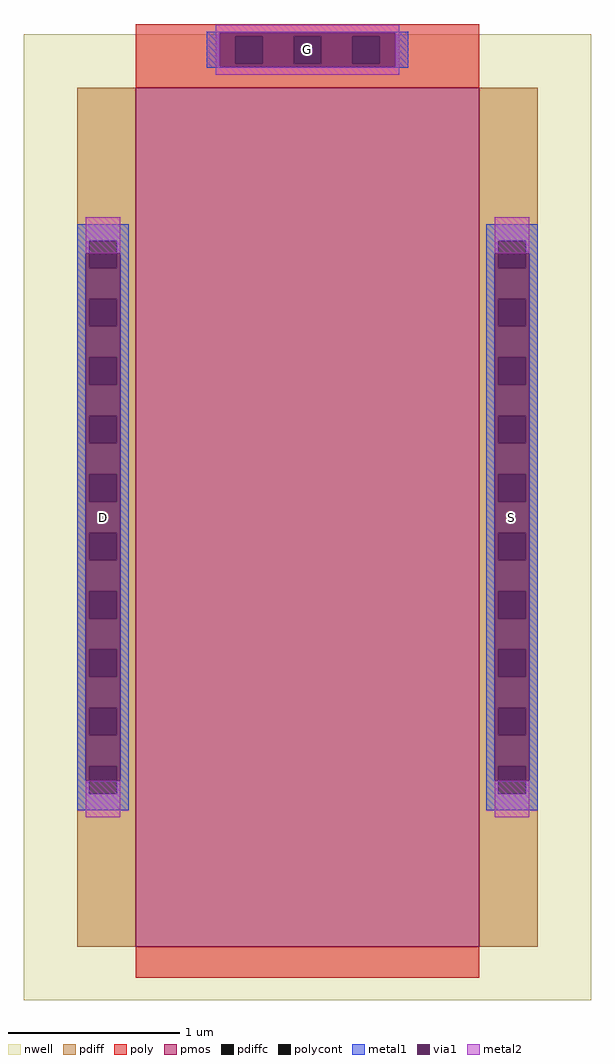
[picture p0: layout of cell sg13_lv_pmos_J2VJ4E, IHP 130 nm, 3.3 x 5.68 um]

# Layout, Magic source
magic
tech ihp-sg13g2
magscale 1 2
<< nwell >>
rect -330 -581 330 543
<< pmos >>
rect -200 -519 200 481
<< pdiff >>
rect -268 303 -200 481
rect -268 271 -254 303
rect -222 271 -200 303
rect -268 235 -200 271
rect -268 203 -254 235
rect -222 203 -200 235
rect -268 167 -200 203
rect -268 135 -254 167
rect -222 135 -200 167
rect -268 99 -200 135
rect -268 67 -254 99
rect -222 67 -200 99
rect -268 31 -200 67
rect -268 -1 -254 31
rect -222 -1 -200 31
rect -268 -37 -200 -1
rect -268 -69 -254 -37
rect -222 -69 -200 -37
rect -268 -105 -200 -69
rect -268 -137 -254 -105
rect -222 -137 -200 -105
rect -268 -173 -200 -137
rect -268 -205 -254 -173
rect -222 -205 -200 -173
rect -268 -241 -200 -205
rect -268 -273 -254 -241
rect -222 -273 -200 -241
rect -268 -309 -200 -273
rect -268 -341 -254 -309
rect -222 -341 -200 -309
rect -268 -519 -200 -341
rect 200 303 268 481
rect 200 271 222 303
rect 254 271 268 303
rect 200 235 268 271
rect 200 203 222 235
rect 254 203 268 235
rect 200 167 268 203
rect 200 135 222 167
rect 254 135 268 167
rect 200 99 268 135
rect 200 67 222 99
rect 254 67 268 99
rect 200 31 268 67
rect 200 -1 222 31
rect 254 -1 268 31
rect 200 -37 268 -1
rect 200 -69 222 -37
rect 254 -69 268 -37
rect 200 -105 268 -69
rect 200 -137 222 -105
rect 254 -137 268 -105
rect 200 -173 268 -137
rect 200 -205 222 -173
rect 254 -205 268 -173
rect 200 -241 268 -205
rect 200 -273 222 -241
rect 254 -273 268 -241
rect 200 -309 268 -273
rect 200 -341 222 -309
rect 254 -341 268 -309
rect 200 -519 268 -341
<< pdiffc >>
rect -254 271 -222 303
rect -254 203 -222 235
rect -254 135 -222 167
rect -254 67 -222 99
rect -254 -1 -222 31
rect -254 -69 -222 -37
rect -254 -137 -222 -105
rect -254 -205 -222 -173
rect -254 -273 -222 -241
rect -254 -341 -222 -309
rect 222 271 254 303
rect 222 203 254 235
rect 222 135 254 167
rect 222 67 254 99
rect 222 -1 254 31
rect 222 -69 254 -37
rect 222 -137 254 -105
rect 222 -205 254 -173
rect 222 -273 254 -241
rect 222 -341 254 -309
<< poly >>
rect -200 541 200 555
rect -200 509 -84 541
rect -52 509 -16 541
rect 16 509 52 541
rect 84 509 200 541
rect -200 481 200 509
rect -200 -555 200 -519
<< polycont >>
rect -84 509 -52 541
rect -16 509 16 541
rect 52 509 84 541
<< metal1 >>
rect -117 545 117 546
rect -117 505 -102 545
rect 102 505 117 545
rect -117 504 117 505
rect -268 303 -208 322
rect -268 288 -254 303
rect -222 288 -208 303
rect -268 -326 -258 288
rect -218 -326 -208 288
rect -268 -341 -254 -326
rect -222 -341 -208 -326
rect -268 -360 -208 -341
rect 208 303 268 322
rect 208 288 222 303
rect 254 288 268 303
rect 208 -326 218 288
rect 258 -326 268 288
rect 208 -341 222 -326
rect 254 -341 268 -326
rect 208 -360 268 -341
<< via1 >>
rect -102 541 102 545
rect -102 509 -84 541
rect -84 509 -52 541
rect -52 509 -16 541
rect -16 509 16 541
rect 16 509 52 541
rect 52 509 84 541
rect 84 509 102 541
rect -102 505 102 509
rect -258 271 -254 288
rect -254 271 -222 288
rect -222 271 -218 288
rect -258 235 -218 271
rect -258 203 -254 235
rect -254 203 -222 235
rect -222 203 -218 235
rect -258 167 -218 203
rect -258 135 -254 167
rect -254 135 -222 167
rect -222 135 -218 167
rect -258 99 -218 135
rect -258 67 -254 99
rect -254 67 -222 99
rect -222 67 -218 99
rect -258 31 -218 67
rect -258 -1 -254 31
rect -254 -1 -222 31
rect -222 -1 -218 31
rect -258 -37 -218 -1
rect -258 -69 -254 -37
rect -254 -69 -222 -37
rect -222 -69 -218 -37
rect -258 -105 -218 -69
rect -258 -137 -254 -105
rect -254 -137 -222 -105
rect -222 -137 -218 -105
rect -258 -173 -218 -137
rect -258 -205 -254 -173
rect -254 -205 -222 -173
rect -222 -205 -218 -173
rect -258 -241 -218 -205
rect -258 -273 -254 -241
rect -254 -273 -222 -241
rect -222 -273 -218 -241
rect -258 -309 -218 -273
rect -258 -326 -254 -309
rect -254 -326 -222 -309
rect -222 -326 -218 -309
rect 218 271 222 288
rect 222 271 254 288
rect 254 271 258 288
rect 218 235 258 271
rect 218 203 222 235
rect 222 203 254 235
rect 254 203 258 235
rect 218 167 258 203
rect 218 135 222 167
rect 222 135 254 167
rect 254 135 258 167
rect 218 99 258 135
rect 218 67 222 99
rect 222 67 254 99
rect 254 67 258 99
rect 218 31 258 67
rect 218 -1 222 31
rect 222 -1 254 31
rect 254 -1 258 31
rect 218 -37 258 -1
rect 218 -69 222 -37
rect 222 -69 254 -37
rect 254 -69 258 -37
rect 218 -105 258 -69
rect 218 -137 222 -105
rect 222 -137 254 -105
rect 254 -137 258 -105
rect 218 -173 258 -137
rect 218 -205 222 -173
rect 222 -205 254 -173
rect 254 -205 258 -173
rect 218 -241 258 -205
rect 218 -273 222 -241
rect 222 -273 254 -241
rect 254 -273 258 -241
rect 218 -309 258 -273
rect 218 -326 222 -309
rect 222 -326 254 -309
rect 254 -326 258 -309
<< metal2 >>
rect -107 545 107 554
rect -107 505 -102 545
rect 102 505 107 545
rect -107 496 107 505
rect -258 288 -218 330
rect -258 -368 -218 -326
rect 218 288 258 330
rect 218 -368 258 -326
<< labels >>
rlabel metal1 s -238 -19 -238 -19 4 D
rlabel metal1 s 238 -19 238 -19 4 S
rlabel metal1 s 0 525 0 525 4 G
<< end >>
